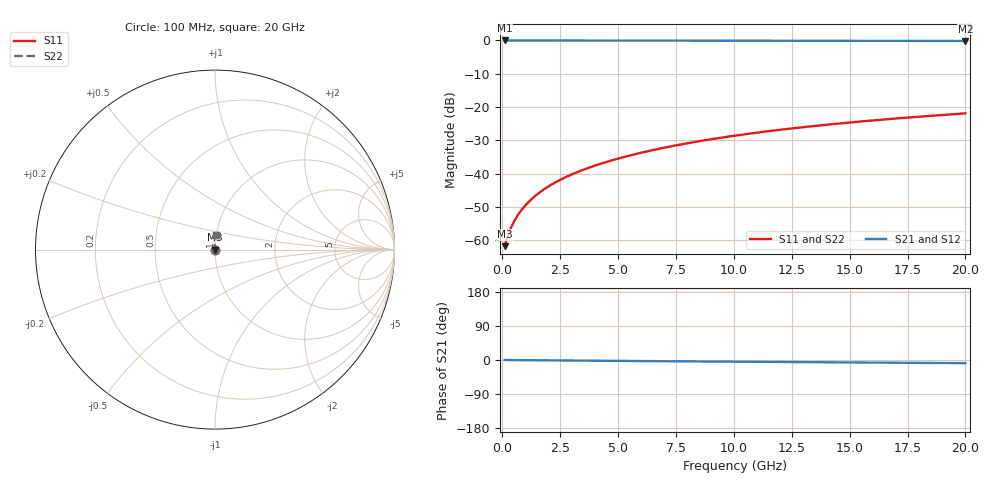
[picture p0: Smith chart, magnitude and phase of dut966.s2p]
! Touchstone file exported from HFSS 2024.1.0
!  File:  C:/UserFiles/LocalFiles/RDL_TSV_Batchsim/temp_RDL_bottom_966_1779942811.aedt
!  Generated:  12:35:50 PM May 28, 2026
!  Design:  RDL_bottom
!  Project:  temp_RDL_bottom_966_1779942811
!  Setup:  Setup1
!  Solution:  Sweep
! Variables:
!  dtsv = 10.80580581um
!  hbump = 3um
!  htsv = 94.21um
!  ldown = 107.53um
!  lrdl = 100um
!  p = 40
!  p1 = 42.68um
!  rhole = 1um
!  t = 450um
!  tdown = 3.23um
!  trdl = 3.915915916um
!  wdown = 26.47um
!  wrdl = 20um
# GHz S MA R 50.000000
! Terminal data exported
! Port[1] = RDL1_T1
! Port[2] = RDL1_T2
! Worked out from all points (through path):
!   200 points, 100 MHz to 20 GHz, reference 50 ohm
!   highest |S21| = -0.01 dB at 100 MHz (marker M1); lowest = -0.2 dB at 20 GHz (marker M2)
!   group delay of S21, straight-line fit = 1.14 ps
!   lowest |S11| = -61.8 dB at 100 MHz (marker M3), VSWR 1.00, Z = 50.1 + j0.0377 ohm
!   |S11| at or under -10 dB: start of sweep to end of sweep
!   |S22| runs from -61.8 to -21.9 dB; largest |S21 - S12| = 6.5e-15
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0.1  0.0008151 27.5  0.9993 -0.1  0.9993 -0.1  0.0008151 27.5
! Gamma 0 0 0 0
! Port Impedance 50 0 50 0
0.2  0.001055 44.0  0.9992 -0.1  0.9992 -0.1  0.001055 44.0
0.3  0.00133 53.2  0.9992 -0.2  0.9992 -0.2  0.00133 53.2
0.4  0.00161 59.1  0.9991 -0.2  0.9991 -0.2  0.00161 59.1
0.5  0.001892 63.5  0.9991 -0.3  0.9991 -0.3  0.001892 63.5
0.6  0.002176 66.9  0.9991 -0.3  0.9991 -0.3  0.002176 66.9
0.8  0.002754 71.9  0.999 -0.4  0.999 -0.4  0.002754 71.9
1  0.003346 75.4  0.9989 -0.5  0.9989 -0.5  0.003346 75.4
1.2  0.003949 78.1  0.9988 -0.6  0.9988 -0.6  0.003949 78.1
1.7  0.005498 82.6  0.9986 -0.8  0.9986 -0.8  0.005498 82.6
2.2  0.007094 85.4  0.9983 -1.1  0.9983 -1.1  0.007094 85.4
2.8  0.009066 87.7  0.9979 -1.3  0.9979 -1.3  0.009066 87.7
3.5  0.01145 89.6  0.9973 -1.7  0.9973 -1.7  0.01145 89.6
4.2  0.01391 91.0  0.9967 -2.0  0.9967 -2.0  0.01391 91.0
5  0.01683 92.1  0.9959 -2.4  0.9959 -2.4  0.01683 92.1
6.8  0.02377 93.3  0.9939 -3.1  0.9939 -3.1  0.02377 93.3
8.4  0.03027 93.5  0.992 -3.8  0.992 -3.8  0.03027 93.5
10.1  0.03741 93.1  0.9902 -4.5  0.9902 -4.5  0.03741 93.1
11.7  0.04427 92.5  0.9886 -5.1  0.9886 -5.1  0.04427 92.5
13.4  0.05163 91.7  0.987 -5.8  0.987 -5.8  0.05163 91.7
16.7  0.06599 89.9  0.9842 -7.1  0.9842 -7.1  0.06599 89.9
20  0.0803 88.0  0.9817 -8.3  0.9817 -8.3  0.0803 88.0
